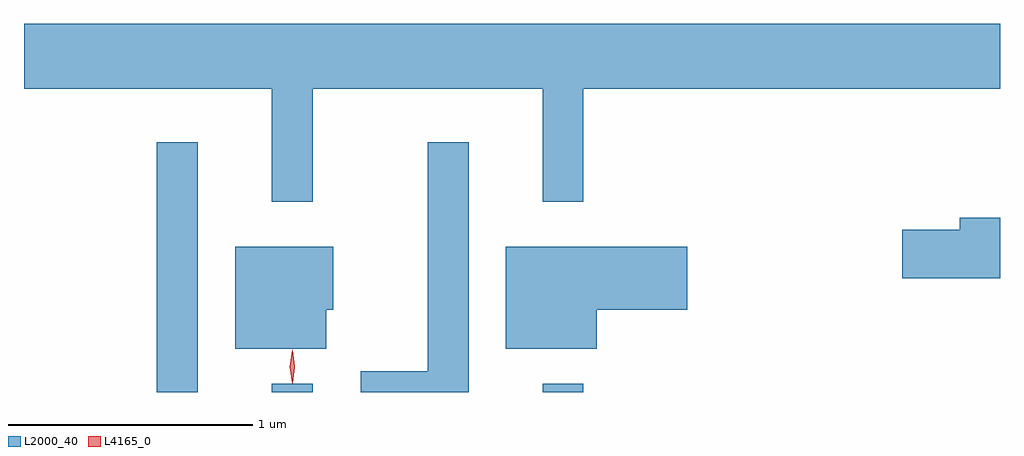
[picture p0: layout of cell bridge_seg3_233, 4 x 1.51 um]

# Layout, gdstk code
import gdstk
lib = gdstk.Library(unit=1e-6, precision=1e-09)
def R(c, l, rs):  # rectangles x0, y0, x1, y1
    for r in rs: c.add(gdstk.rectangle(r[:2], r[2:], *l))
def P(c, l, *ps):  # polygons
    for p in ps: c.add(gdstk.Polygon(p, *l))
L2000_40 = (2000, 40)
L4165_0 = (4165, 0)

bridge_seg3_233 = lib.new_cell('bridge_seg3_233')
R(bridge_seg3_233, L2000_40, [(981.811,1115.892,981.979,1116.918), (982.281,1115.892,982.449,1115.928), (983.391,1115.892,983.559,1115.928)])
P(bridge_seg3_233, L2000_40, [(982.449,1117.136),(983.391,1117.136),(983.391,1116.673),(983.559,1116.673),(983.559,1117.136),(985.266,1117.136),(985.266,1117.404),(981.266,1117.404),(981.266,1117.136),(982.281,1117.136),(982.281,1116.673),(982.449,1116.673)],
  [(983.089,1116.918),(982.921,1116.918),(982.921,1115.979),(982.646,1115.979),(982.646,1115.892),(983.089,1115.892)],
  [(985.266,1116.609),(985.101,1116.609),(985.101,1116.559),(984.866,1116.559),(984.866,1116.361),(985.266,1116.361)],
  [(983.614,1116.231),(983.984,1116.231),(983.984,1116.489),(983.241,1116.489),(983.241,1116.071),(983.614,1116.071)],
  [(982.504,1116.231),(982.534,1116.231),(982.534,1116.489),(982.131,1116.489),(982.131,1116.071),(982.504,1116.071)])
P(bridge_seg3_233, L4165_0, [(982.366,1115.929),(982.366,1115.93),(982.356,1115.998),(982.366,1116.065),(982.366,1116.066),(982.367,1116.065),(982.376,1115.998),(982.367,1115.93)])

lib.write_gds('bridge_seg3_233.gds')
